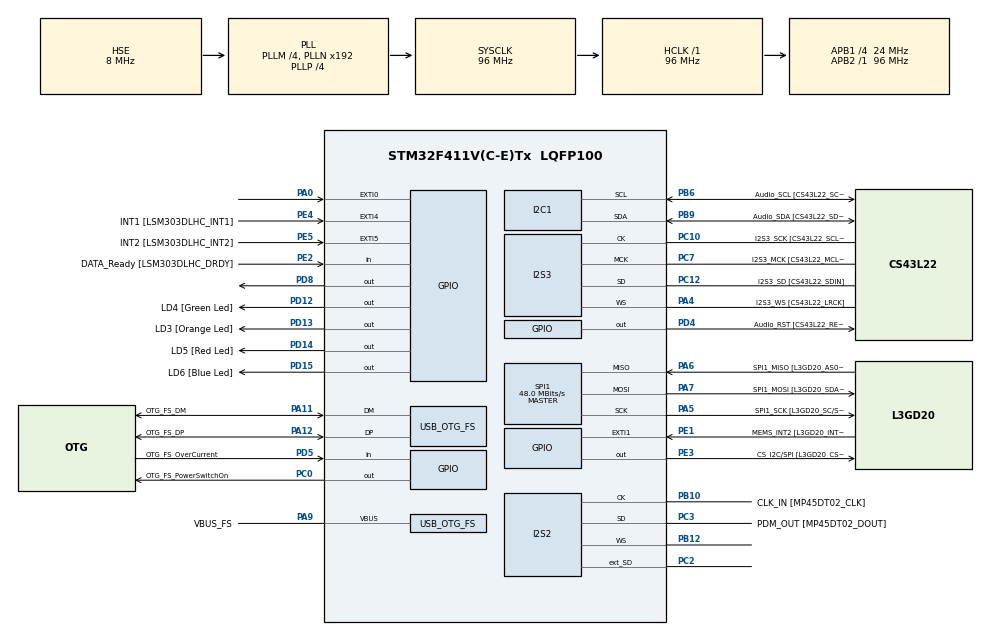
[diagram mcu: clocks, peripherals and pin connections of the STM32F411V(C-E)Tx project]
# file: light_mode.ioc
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I2S2.AudioFreq=I2S_AUDIOFREQ_96K
I2S2.ErrorAudioFreq=0.15 %
I2S2.FullDuplexMode=I2S_FULLDUPLEXMODE_ENABLE
I2S2.Instance=SPI$Index
I2S2.RealAudioFreq=96.153 KHz
I2S2.VirtualMode=I2S_MODE_MASTER
I2S3.AudioFreq=I2S_AUDIOFREQ_96K
I2S3.ErrorAudioFreq=-6.99 %
I2S3.FullDuplexMode=I2S_FULLDUPLEXMODE_DISABLE
I2S3.Instance=SPI$Index
I2S3.RealAudioFreq=89.285 KHz
I2S3.VirtualMode=I2S_MODE_MASTER
Mcu.Family=STM32F4
Mcu.Name=STM32F411V(C-E)Tx
Mcu.Package=LQFP100
NVIC.OTG_FS_IRQn=true\:0\:0\:false\:false\:true\:true\:true
NVIC.PriorityGroup=NVIC_PRIORITYGROUP_0
PA0-WKUP.GPIO_ModeDefaultEXTI=GPIO_MODE_EVT_RISING
PA0-WKUP.Signal=GPXTI0
PA10.GPIO_Label=OTG_FS_ID
PA10.Signal=USB_OTG_FS_ID
PA11.GPIO_Label=OTG_FS_DM
PA11.Mode=Host_Only
PA11.Signal=USB_OTG_FS_DM
PA12.GPIO_Label=OTG_FS_DP
PA12.Mode=Host_Only
PA12.Signal=USB_OTG_FS_DP
PA13.GPIO_Label=SWDIO
PA13.Mode=Serial_Wire
PA13.Signal=SYS_JTMS-SWDIO
PA14.GPIO_Label=SWCLK
PA14.Mode=Serial_Wire
PA14.Signal=SYS_JTCK-SWCLK
PA4.GPIO_Label=I2S3_WS [CS43L22_LRCK]
PA4.GPIO_Mode=GPIO_MODE_AF_PP
PA4.GPIO_PuPd=GPIO_NOPULL
PA4.GPIO_Speed=GPIO_SPEED_FREQ_LOW
PA4.Mode=Half_Duplex_Master
PA4.Signal=I2S3_WS
PA5.GPIO_Label=SPI1_SCK [L3GD20_SC/SPC]
PA5.Mode=Full_Duplex_Master
PA5.Signal=SPI1_SCK
PA6.GPIO_Label=SPI1_MISO [L3GD20_AS0/SDO]
PA6.Mode=Full_Duplex_Master
PA6.Signal=SPI1_MISO
PA7.GPIO_Label=SPI1_MOSI [L3GD20_SDA/SDI/SDO]
PA7.Mode=Full_Duplex_Master
PA7.Signal=SPI1_MOSI
PA9.GPIO_Label=VBUS_FS
PA9.Mode=Activate_VBUS
PA9.Signal=USB_OTG_FS_VBUS
PB10.GPIO_Label=CLK_IN [MP45DT02_CLK]
PB10.Mode=Full_Duplex_Master
PB10.Signal=I2S2_CK
PB12.Mode=Full_Duplex_Master
PB12.Signal=I2S2_WS
PB3.GPIO_Label=SWO
PB3.Signal=SYS_JTDO-SWO
PB6.GPIO_Label=Audio_SCL [CS43L22_SCL]
PB6.GPIO_Mode=GPIO_MODE_AF_OD
PB6.GPIO_PuPd=GPIO_NOPULL
PB6.GPIO_Speed=GPIO_SPEED_FREQ_LOW
PB6.Mode=I2C
PB6.Signal=I2C1_SCL
PB9.GPIO_Label=Audio_SDA [CS43L22_SDA]
PB9.GPIO_Mode=GPIO_MODE_AF_OD
PB9.GPIO_PuPd=GPIO_NOPULL
PB9.GPIO_Speed=GPIO_SPEED_FREQ_LOW
PB9.Mode=I2C
PB9.Signal=I2C1_SDA
PC0.GPIO_Label=OTG_FS_PowerSwitchOn
PC0.PinState=GPIO_PIN_SET
PC0.Signal=GPIO_Output
PC10.GPIO_Label=I2S3_SCK [CS43L22_SCLK]
PC10.GPIO_Mode=GPIO_MODE_AF_PP
PC10.GPIO_PuPd=GPIO_NOPULL
PC10.GPIO_Speed=GPIO_SPEED_FREQ_LOW
PC10.Mode=Half_Duplex_Master
PC10.Signal=I2S3_CK
PC12.GPIO_Label=I2S3_SD [CS43L22_SDIN]
PC12.GPIO_Mode=GPIO_MODE_AF_PP
PC12.GPIO_PuPd=GPIO_NOPULL
PC12.GPIO_Speed=GPIO_SPEED_FREQ_LOW
PC12.Mode=Half_Duplex_Master
PC12.Signal=I2S3_SD
PC14-OSC32_IN.GPIO_Label=PC14-OSC32_IN
PC14-OSC32_IN.Mode=LSE-External-Oscillator
PC14-OSC32_IN.Signal=RCC_OSC32_IN
PC15-OSC32_OUT.GPIO_Label=PC15-OSC32_OUT
PC15-OSC32_OUT.Mode=LSE-External-Oscillator
PC15-OSC32_OUT.Signal=RCC_OSC32_OUT
PC2.Mode=Full_Duplex_Master
PC2.Signal=I2S2_ext_SD
PC3.GPIO_Label=PDM_OUT [MP45DT02_DOUT]
PC3.Mode=Full_Duplex_Master
PC3.Signal=I2S2_SD
PC7.GPIO_Label=I2S3_MCK [CS43L22_MCLK]
PC7.GPIO_Mode=GPIO_MODE_AF_PP
PC7.GPIO_PuPd=GPIO_NOPULL
PC7.GPIO_Speed=GPIO_SPEED_FREQ_LOW
PC7.Mode=Master_Clock_Activated
PC7.Signal=I2S3_MCK
PD12.GPIO_Label=LD4 [Green Led]
PD12.GPIO_PuPd=GPIO_NOPULL
PD12.GPIO_Speed=GPIO_SPEED_FREQ_LOW
PD12.Signal=GPIO_Output
PD13.GPIO_Label=LD3 [Orange Led]
PD13.GPIO_PuPd=GPIO_NOPULL
PD13.GPIO_Speed=GPIO_SPEED_FREQ_LOW
PD13.Signal=GPIO_Output
PD14.GPIO_Label=LD5 [Red Led]
PD14.GPIO_PuPd=GPIO_NOPULL
PD14.GPIO_Speed=GPIO_SPEED_FREQ_LOW
PD14.Signal=GPIO_Output
PD15.GPIO_Label=LD6 [Blue Led]
PD15.GPIO_PuPd=GPIO_NOPULL
PD15.GPIO_Speed=GPIO_SPEED_FREQ_LOW
PD15.Signal=GPIO_Output
PD4.GPIO_Label=Audio_RST [CS43L22_RESET]
PD4.Signal=GPIO_Output
PD5.GPIO_Label=OTG_FS_OverCurrent
PD5.Signal=GPIO_Input
PD8.Signal=GPIO_Output
PE1.GPIO_Label=MEMS_INT2 [L3GD20_INT2]
PE1.GPIO_ModeDefaultEXTI=GPIO_MODE_EVT_RISING
PE1.Signal=GPXTI1
PE2.GPIO_Label=DATA_Ready [LSM303DLHC_DRDY]
PE2.Signal=GPIO_Input
PE3.GPIO_Label=CS_I2C/SPI [L3GD20_CS_I2C/SPI]
PE3.Signal=GPIO_Output
PE4.GPIO_Label=INT1 [LSM303DLHC_INT1]
PE4.GPIO_ModeDefaultEXTI=GPIO_MODE_EVT_RISING
PE4.Signal=GPXTI4
PE5.GPIO_Label=INT2 [LSM303DLHC_INT2]
PE5.GPIO_ModeDefaultEXTI=GPIO_MODE_EVT_RISING
PE5.Signal=GPXTI5
PH0\ -\ OSC_IN.GPIO_Label=PH0-OSC_IN
PH0\ -\ OSC_IN.Mode=HSE-External-Clock-Source
PH0\ -\ OSC_IN.Signal=RCC_OSC_IN
PH1\ -\ OSC_OUT.GPIO_Label=PH1-OSC_OUT
PH1\ -\ OSC_OUT.Mode=HSE-External-Clock-Source
PH1\ -\ OSC_OUT.Signal=RCC_OSC_OUT
ProjectManager.HeapSize=0x200
ProjectManager.StackSize=0x400
ProjectManager.TargetToolchain=SW4STM32
RCC.48MHZClocksFreq_Value=48000000
RCC.AHBFreq_Value=96000000
RCC.APB1CLKDivider=RCC_HCLK_DIV4
RCC.APB1Freq_Value=24000000
RCC.APB1TimFreq_Value=48000000
RCC.APB2Freq_Value=96000000
RCC.APB2TimFreq_Value=96000000
RCC.CortexFreq_Value=96000000
RCC.HCLKFreq_Value=96000000
RCC.HSE_VALUE=8000000
RCC.HSI_VALUE=16000000
RCC.PLLI2SM=5
RCC.PLLI2SN=200
RCC.PLLM=4
RCC.PLLP=RCC_PLLP_DIV4
RCC.PLLQ=8
RCC.SYSCLKFreq_VALUE=96000000
RCC.SYSCLKSource=RCC_SYSCLKSOURCE_PLLCLK
RCC.VCOOutputFreq_Value=384000000
SPI1.BaudRatePrescaler=SPI_BAUDRATEPRESCALER_2
SPI1.CalculateBaudRate=48.0 MBits/s
SPI1.Direction=SPI_DIRECTION_2LINES
SPI1.Mode=SPI_MODE_MASTER
SPI1.VirtualType=VM_MASTER
USB_HOST.BSP.number=1
USB_HOST.USBH_HandleTypeDef=hUsbHostFS
USB_HOST.VirtualModeFS=Cdc
USB_HOST0.BSP.STBoard=false
USB_HOST0.BSP.api=Unknown
USB_HOST0.BSP.i2caddr=0
USB_HOST0.BSP.i2creg=0
USB_HOST0.BSP.instance=PC0
USB_HOST0.BSP.ip=GPIO
USB_HOST0.BSP.mode=Output
USB_HOST0.BSP.name=Drive_VBUS_FS
USB_HOST0.BSP.solution=PC0
USB_OTG_FS.VirtualMode=Host_Only
USB_OTG_FS.phy_itface=HCD_PHY_EMBEDDED
VP_USB_HOST_VS_USB_HOST_CDC_FS.Mode=CDC_FS
board=STM32F411E-DISCO

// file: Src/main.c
/* USER CODE BEGIN Header */
/**
  ******************************************************************************
  * @file           : main.c
  * @brief          : Main program body
  ******************************************************************************
  * @attention
  *
  * <h2><center>&copy; Copyright (c) 2019 STMicroelectronics.
  * All rights reserved.</center></h2>
  *
  * This software component is licensed by ST under Ultimate Liberty license
  * SLA0044, the "License"; You may not use this file except in compliance with
  * the License. You may obtain a copy of the License at:
  *                             www.st.com/SLA0044
  *
  ******************************************************************************
  */
/* USER CODE END Header */

#include "main.h"
#include "i2c.h"
#include "i2s.h"
#include "spi.h"
#include "usb_host.h"
#include "gpio.h"

void SystemClock_Config(void);
void MX_USB_HOST_Process(void);

/* USER CODE BEGIN 0 */
static inline void udelay_asm (uint32_t useconds) {
	//useconds *= LOOP_FREQ;
    asm volatile("   mov r0, %[useconds]    \n\t"
                 "1: subs r0, #1            \n\t"
                 "   bhi 1b                 \n\t"
                 :
                 : [useconds] "r" (useconds)
                 : "r0");
}

static inline void send_byte(int x)
{
	static int delays_L[]={13, 23};
	static int delays_H[]={23, 12};
	for(int i = 7; i>=0; --i)
	{
		int bit = (x>>i) & 1;
		GPIOD->BSRR = GPIO_PIN_8;
		udelay_asm( delays_L[bit] );
		GPIOD->BSRR = (uint32_t)GPIO_PIN_8 << 16U;
		udelay_asm( delays_H[bit] );
	}
}

/* USER CODE END 0 */

int main(void)
{

  /* MCU Configuration--------------------------------------------------------*/

  /* Reset of all peripherals, Initializes the Flash interface and the Systick. */
  HAL_Init();

  /* Configure the system clock */
  SystemClock_Config();

  /* Initialize all configured peripherals */
  MX_GPIO_Init();
  MX_I2C1_Init();
  MX_I2S2_Init();
  MX_I2S3_Init();
  MX_SPI1_Init();
  MX_USB_HOST_Init();

  /* Infinite loop */
  while (1)
  {
//	send_byte(0);
//    udelay_asm(2610);
    for(int i = 0; i < 5; i++){
    	send_byte(0x00);
    	send_byte(0xFF);
    	send_byte(0xFF);
    }
    HAL_Delay(1);

  }
}

void SystemClock_Config(void)
{
  RCC_OscInitTypeDef RCC_OscInitStruct = {0};
  RCC_ClkInitTypeDef RCC_ClkInitStruct = {0};
  RCC_PeriphCLKInitTypeDef PeriphClkInitStruct = {0};

  /** Configure the main internal regulator output voltage
  */
  __HAL_RCC_PWR_CLK_ENABLE();
  __HAL_PWR_VOLTAGESCALING_CONFIG(PWR_REGULATOR_VOLTAGE_SCALE1);
  /** Initializes the CPU, AHB and APB busses clocks
  */
  RCC_OscInitStruct.OscillatorType = RCC_OSCILLATORTYPE_HSE;
  RCC_OscInitStruct.HSEState = RCC_HSE_BYPASS;
  RCC_OscInitStruct.PLL.PLLState = RCC_PLL_ON;
  RCC_OscInitStruct.PLL.PLLSource = RCC_PLLSOURCE_HSE;
  RCC_OscInitStruct.PLL.PLLM = 4;
  RCC_OscInitStruct.PLL.PLLN = 192;
  RCC_OscInitStruct.PLL.PLLP = RCC_PLLP_DIV4;
  RCC_OscInitStruct.PLL.PLLQ = 8;
  if (HAL_RCC_OscConfig(&RCC_OscInitStruct) != HAL_OK)
  {
    Error_Handler();
  }
  /** Initializes the CPU, AHB and APB busses clocks
  */
  RCC_ClkInitStruct.ClockType = RCC_CLOCKTYPE_HCLK|RCC_CLOCKTYPE_SYSCLK
                              |RCC_CLOCKTYPE_PCLK1|RCC_CLOCKTYPE_PCLK2;
  RCC_ClkInitStruct.SYSCLKSource = RCC_SYSCLKSOURCE_PLLCLK;
  RCC_ClkInitStruct.AHBCLKDivider = RCC_SYSCLK_DIV1;
  RCC_ClkInitStruct.APB1CLKDivider = RCC_HCLK_DIV4;
  RCC_ClkInitStruct.APB2CLKDivider = RCC_HCLK_DIV1;

  if (HAL_RCC_ClockConfig(&RCC_ClkInitStruct, FLASH_LATENCY_3) != HAL_OK)
  {
    Error_Handler();
  }
  PeriphClkInitStruct.PeriphClockSelection = RCC_PERIPHCLK_I2S;
  PeriphClkInitStruct.PLLI2S.PLLI2SN = 200;
  PeriphClkInitStruct.PLLI2S.PLLI2SM = 5;
  PeriphClkInitStruct.PLLI2S.PLLI2SR = 2;
  if (HAL_RCCEx_PeriphCLKConfig(&PeriphClkInitStruct) != HAL_OK)
  {
    Error_Handler();
  }
}

void Error_Handler(void)
{
}

/************************ (C) COPYRIGHT STMicroelectronics *****END OF FILE****/
